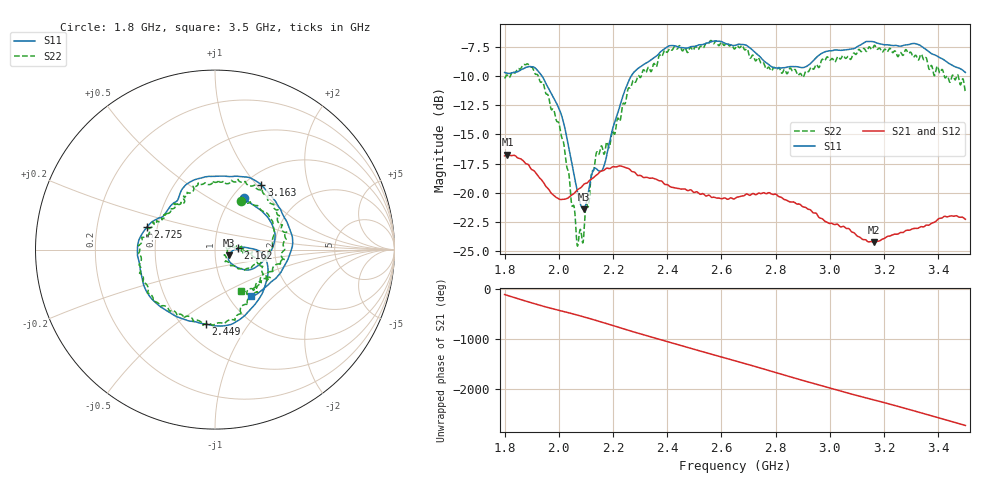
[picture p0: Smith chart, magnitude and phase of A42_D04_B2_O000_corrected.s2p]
! Created with skrf 1.9.0 (http://scikit-rf.org).
# Hz S RI R 50.0
!freq ReS11 ImS11 ReS21 ImS21 ReS12 ImS12 ReS22 ImS22
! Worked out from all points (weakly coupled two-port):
!   1601 points, 1.8 GHz to 3.5 GHz, reference 50 ohm
!   highest |S21| = -16.75 dB at 1.811 GHz (marker M1); lowest = -24.3 dB at 3.163 GHz (marker M2)
!   lowest |S11| = -21.4 dB at 2.091 GHz (marker M3), VSWR 1.19, Z = 58.5 - j3.63 ohm
!   |S11| at or under -10 dB: 1.938 GHz to 2.267 GHz (328.6 MHz wide, 15.6 % of centre)
!   |S22| runs from -24.6 to -6.9 dB; largest |S21 - S12| = 0.0023
!   S11 on the Smith chart (normalised r, x): 1.8 GHz: 1.14, +0.73; 2.162 GHz: 1.29, +0.02; 2.449 GHz: 0.65, -0.65; 2.725 GHz: 0.44, +0.13; 3.163 GHz: 1.18, +1.06; 3.5 GHz: 1.26, -0.73
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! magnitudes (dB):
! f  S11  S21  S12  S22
! 1.8 GHz  -9.7  -16.8  -16.8  -10.2
! 1.811 GHz  -9.8  -16.7  -16.7  -9.9
! 1.883 GHz  -9.2  -17.5  -17.6  -8.9
! 1.942 GHz  -10.2  -19.1  -19.1  -10.6
! 2.011 GHz  -13.5  -20.6  -20.6  -15.3
! 2.067 GHz  -19.7  -19.8  -19.8  -24.3
! 2.084 GHz  -21.2  -19.5  -19.5  -23.6
! 2.091 GHz  -21.4  -19.3  -19.3  -24.0
! 2.13 GHz  -17.9  -18.6  -18.6  -17.9
! 2.162 GHz  -18.0  -18.1  -18.0  -16.3
! 2.188 GHz  -15.6  -17.9  -17.9  -16.0
! 2.261 GHz  -10.3  -18.0  -18.0  -11.0
! 2.367 GHz  -8.1  -18.9  -18.9  -8.5
! 2.449 GHz  -7.5  -19.7  -19.7  -7.5
! 2.65 GHz  -7.4  -20.5  -20.5  -7.7
! 2.725 GHz  -8.0  -20.2  -20.1  -8.7
! 2.798 GHz  -9.3  -20.1  -20.1  -9.3
! 2.934 GHz  -8.8  -21.6  -21.6  -9.3
! 3.163 GHz  -7.1  -24.3  -24.2  -7.4
! 3.217 GHz  -7.3  -23.7  -23.7  -7.7
! 3.324 GHz  -7.3  -23.1  -23.0  -8.5
! 3.5 GHz  -9.7  -22.3  -22.2  -11.3
